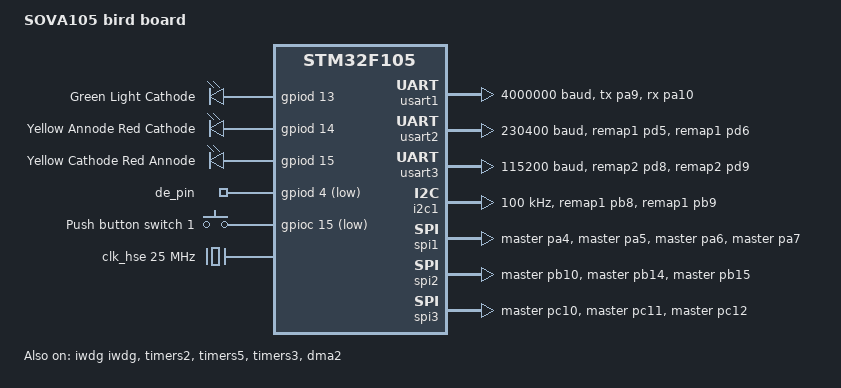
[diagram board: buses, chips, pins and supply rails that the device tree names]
/dts-v1/;
#include <st/f1/stm32f105Xc.dtsi>
#include "bb-header.dtsi"
#include "st/f1/stm32f105v(8-b-c)tx-pinctrl.dtsi"
#include "SOVA105-pinctrl.dtsi"

/ {
	model = "SOVA105 bird board";
	compatible = "st,stm32f105";

	chosen {
		zephyr,console = &usart1;
		zephyr,shell-uart = &usart1;
		zephyr,uart-mcumgr = &usart1;
		zephyr,sram = &sram0;
		zephyr,flash = &flash0;
		zephyr,code-partition = &slot0_partition;
	};
	soc {
		dma2: dma@40020400 {
			compatible = "st,stm32-dma-v2bis";
			#dma-cells = <2>;
			dma-requests = <5>;
			reg = <0x40020400 0x400>;
			clocks = <&rcc STM32_CLOCK_BUS_AHB1 0x2>;
			interrupts = <56 0 57 0 58 0 59 0 60 0>;
			status = "okay";
			label = "DMA_2";
		};
	};
	leds {
		compatible = "gpio-leds";
		glc_led: led_1 {
			gpios = <&gpiod 13 GPIO_ACTIVE_HIGH>;
			label = "Green Light Cathode";
		};
		yarc_led: led_2 {
			gpios = <&gpiod 14 GPIO_ACTIVE_HIGH>, <&gpiod 15 GPIO_ACTIVE_LOW>;
			label = "Yellow Annode Red Cathode";

		};
		ycra_led: led_3 {
			gpios = <&gpiod 15 GPIO_ACTIVE_HIGH>, <&gpiod 14 GPIO_ACTIVE_LOW>;
			label = "Yellow Cathode Red Annode";
		};
		led_4: led_4 {
			gpios = <&gpiod 4 GPIO_ACTIVE_LOW>;
			label = "de_pin";

		};
	};
	buttons {
		compatible = "gpio-keys";
		button1: button_1 {
			gpios = <&gpioc 15 GPIO_ACTIVE_LOW>;
			label = "Push button switch 1";
		};
	};
	aliases {
		led0 = &glc_led;
		led1 = &yarc_led;
		led2 = &ycra_led;
		de-pin = &led_4;
		sw0 = &button1;
		bootloader-led0 = &glc_led;
	};
};

&clk_hse {
	clock-frequency = <DT_FREQ_M(25)>;
	status = "okay";
};

&clk_hsi {
	clock-frequency = <DT_FREQ_M(8)>;
	status = "okay";
};
&clk_lsi {
	status = "okay";
};

/* 25 * 8 / 5 = 40 Mhz */
&pll2 {
	status = "okay";
	clocks = <&clk_hse>;
	mul = <8>;
	prediv = <5>;
};

/* 40 * 7 / 4 = 72 Mhz */
&pll {
	status = "okay";
	clocks = <&pll2>;
	mul = <7>;
	prediv = <4>;
};

&rcc {
	status = "okay";
	clocks = <&pll>;
	clock-frequency = <DT_FREQ_M(72)>;
	ahb-prescaler = <1>;
	/* 36 MHz except TIM2..7 (36x2 = 72 MHz) */
	apb1-prescaler = <2>;
	apb2-prescaler = <1>;
};

&usart1 {
	pinctrl-0 = <&usart1_tx_pa9 &usart1_rx_pa10>;
	pinctrl-names = "default";
	current-speed = <4000000>;
	status = "okay";
};
// bb_header 11 GPIO_ACTIVE_LOW // gpiod 4
&usart2 {
	pinctrl-0 = <&usart2_tx_remap1_pd5 &usart2_rx_remap1_pd6 /* &usart2_rts_remap1_pd4 */>;
	pinctrl-names = "default";
	status = "okay";
	current-speed = <230400>;
};
&usart3 {
	pinctrl-0 = <&usart3_tx_remap2_pd8 &usart3_rx_remap2_pd9>;
	pinctrl-names = "default";
	current-speed = <115200>;
};

&i2c1 {
	pinctrl-0 = <&i2c1_scl_remap1_pb8 &i2c1_sda_remap1_pb9>;
	pinctrl-names = "default";
	status = "okay";
	clock-frequency = <I2C_BITRATE_STANDARD>;
};

&spi1 {
	pinctrl-0 = <&spi1_nss_master_pa4 &spi1_sck_master_pa5
	&spi1_miso_master_pa6 &spi1_mosi_master_pa7>;
	pinctrl-names = "default";
	status = "okay";
};

&spi2 {
	pinctrl-0 = <&spi2_sck_master_pb10
	&spi2_miso_master_pb14 &spi2_mosi_master_pb15>;
	pinctrl-names = "default";
	status = "okay";
};

&spi3 {
	pinctrl-0 = <&spi3_sck_remap1_master_pc10
	&spi3_miso_remap1_master_pc11 &spi3_mosi_remap1_master_pc12>;
	pinctrl-names = "default";
	status = "okay";
	dmas = <&dma2 2 0x20440>, <&dma2 1 0x20480>;
	dma-names = "tx", "rx";
};


&iwdg {
	status = "okay";
	label = "iwdg";
};

&timers2 {
	st,prescaler = <71>;
	status = "okay";
};

&timers5 {
	status = "okay";
	st,prescaler = <71>;

	counter0: counter0 {
		compatible = "st,stm32-counter";
		status = "okay";
		label = "COUNTER_0";
	};
};

&timers3 {
	status = "okay";
};

&flash0 {
	partitions {
		compatible = "fixed-partitions";
		#address-cells = <1>;
		#size-cells = <1>;
		boot_partition: partition@0 {
			label = "mcuboot";
			reg = <0x00000000 0xa000>;
		};
		slot0_partition: partition@a000 {
			label = "image-0";
			reg = <0xa000 0x19000>;
		};
		slot1_partition: partition@23000 {
			label = "image-1";
			reg = <0x23000 0x19000>;
		};
		scratch_partition: partition@3c000 {
			label = "image-scratch";
			reg = <0x3c000 0x4000>;
		};
	};
};
